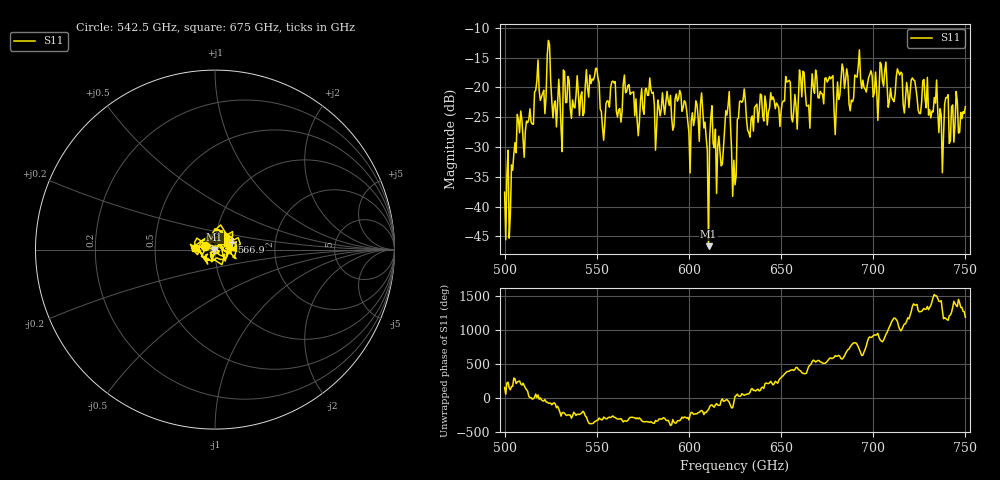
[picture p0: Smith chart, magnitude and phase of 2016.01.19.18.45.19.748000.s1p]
!Created with skrf (http://scikit-rf.org).
# GHz S RI R 50.0
!freq ReS11 ImS11
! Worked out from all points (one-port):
!   401 points, 500 GHz to 750 GHz, reference 50 ohm
!   lowest |S11| = -46.6 dB at 610.6 GHz (marker M1), VSWR 1.01, Z = 49.5 - j0.0363 ohm
!   |S11| at or under -10 dB: start of sweep to end of sweep
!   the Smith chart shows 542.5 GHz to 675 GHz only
!   S11 on the Smith chart (normalised r, x): 542.5 GHz: 0.89, +0.03; 566.9 GHz: 1.20, +0.11; 675 GHz: 0.80, +0.01
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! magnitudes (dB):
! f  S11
! 500 GHz  -37.6
! 508.1 GHz  -27.6
! 523.8 GHz  -12.1
! 526.9 GHz  -22.8
! 531.2 GHz  -30.8
! 542.5 GHz  -24.7
! 549.4 GHz  -16.8
! 553.1 GHz  -26.8
! 558.8 GHz  -18.9
! 562.5 GHz  -23.5
! 566.9 GHz  -19.7
! 571.9 GHz  -25.3
! 593.8 GHz  -22.3
! 601.2 GHz  -25.6
! 607.5 GHz  -23.9
! 610.6 GHz  -46.6
! 618.1 GHz  -32.9
! 621.2 GHz  -23.0
! 625 GHz  -36.3
! 628.8 GHz  -22.5
! 632.5 GHz  -27.6
! 656.2 GHz  -25.8
! 675 GHz  -19.1
! 687.5 GHz  -23.9
! 691.2 GHz  -18.2
! 718.8 GHz  -20.7
! 736.9 GHz  -24.6
! 750 GHz  -23.2
